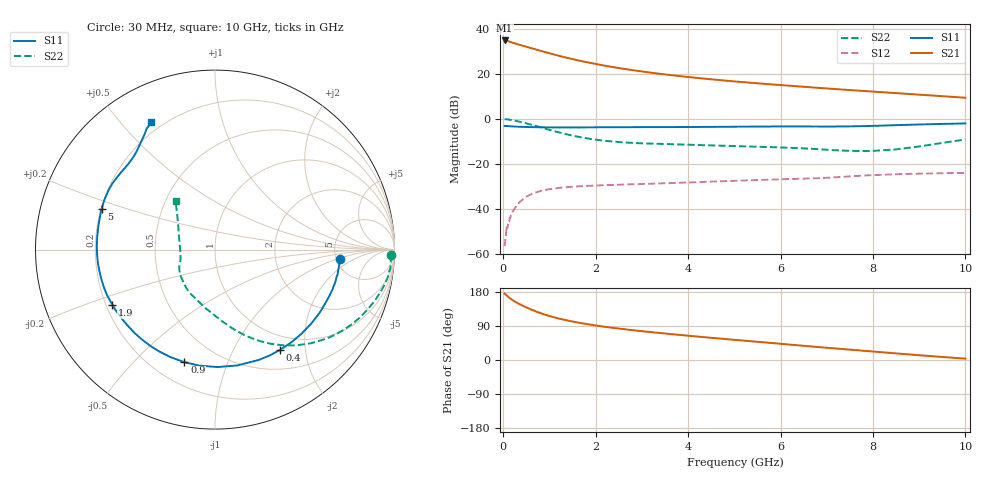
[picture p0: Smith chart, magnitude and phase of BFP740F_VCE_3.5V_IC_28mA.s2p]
! Infineon Technologies  Discrete & RF Semiconductors
! BFP740F
! VCE =  3.5 V,  IC =  28 mA
! Common Emitter S-Parameters:  Oct 2012
# GHz  S  MA  R  50
!  f  S11  S21  S12  S22
! GHz  MAG  ANG  MAG  ANG  MAG  ANG  MAG  ANG
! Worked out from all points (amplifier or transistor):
!   99 points, 30 MHz to 10 GHz, reference 50 ohm
!   highest |S21| = 34.8 dB at 30 MHz (marker M1)
!   |S21| within 3 dB of that: start of sweep to 535 MHz
!   unconditionally stable (mu >= 1): 5.454 GHz to end of sweep
!   at 350 MHz: K = 0.18, MSG = 35.0 dB, |S12| = -37.1 dB
!   at 3.5 GHz: K = 0.76, MSG = 24.1 dB, |S12| = -28.5 dB
!   at 10 GHz: K = 1.17, MAG = 14.2 dB, |S12| = -24.0 dB
!   S11 on the Smith chart (normalised r, x): 30 MHz: 5.36, -1.14; 400 MHz: 0.78, -1.56; 900 MHz: 0.33, -0.71; 1.9 GHz: 0.23, -0.24; 5 GHz: 0.20, +0.17; 10 GHz: 0.16, +0.61
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0.03  0.6977 -4.5  54.99 175.4  0.0015 92.5  0.9792 -1.8
0.07  0.6969 -11.1  54.3 170.8  0.0042 82.5  0.9825 -6.2
0.11  0.6917 -17.2  52.81 166.4  0.0049 82.8  0.9711 -10.0
0.15  0.686 -23.3  51.24 162.5  0.0064 75.9  0.9555 -13.6
0.2  0.6816 -30.5  49.19 158.2  0.0085 75.5  0.9356 -17.7
0.3  0.6724 -44.0  45.66 150.9  0.0121 70.0  0.891 -25.2
0.4  0.6658 -56.9  42.63 144.5  0.0156 64.0  0.8434 -32.1
0.6  0.6573 -79.1  37.3 133.4  0.0212 55.2  0.7473 -44.3
0.7  0.6545 -88.7  34.87 128.5  0.0232 51.4  0.6996 -49.7
0.9  0.6501 -105.2  30.54 119.9  0.0264 44.9  0.6113 -59.2
1.1  0.6469 -118.6  26.84 112.7  0.0285 40.1  0.5357 -67.3
1.3  0.6453 -129.4  23.76 106.6  0.0301 36.6  0.4741 -74.4
1.5  0.6449 -138.2  21.21 101.5  0.0312 34.0  0.4256 -80.6
1.7  0.6463 -145.5  19.11 97.0  0.032 32.1  0.387 -86.4
1.9  0.6492 -151.7  17.36 93.1  0.0329 30.5  0.3576 -91.9
2.4  0.6537 -163.9  13.97 84.4  0.0344 28.4  0.3126 -104.3
3.4  0.6581 179.7  9.986 71.1  0.037 27.4  0.2792 -120.2
5  0.6709 160.2  6.787 53.3  0.0422 27.8  0.249 -136.6
5.1  0.6723 159.2  6.652 52.2  0.0426 27.9  0.2474 -137.9
6.7  0.6779 142.2  4.983 35.4  0.048 28.2  0.2163 -156.2
8.5  0.726 124.7  3.734 17.4  0.0592 24.9  0.2105 161.7
10  0.7931 116.7  2.948 3.6  0.0634 19.3  0.3494 129.0
